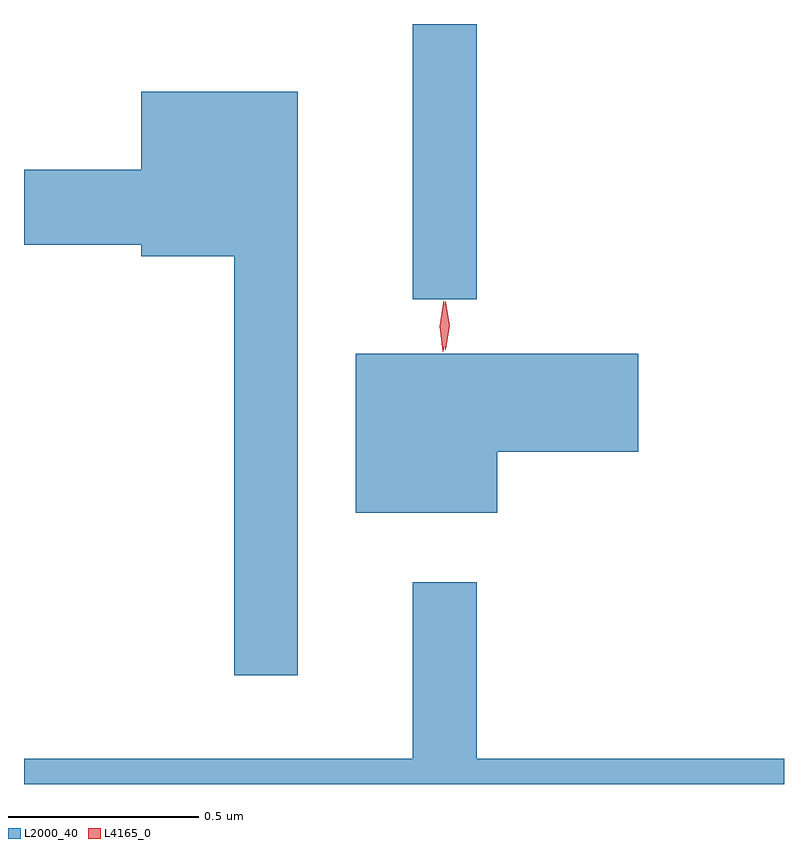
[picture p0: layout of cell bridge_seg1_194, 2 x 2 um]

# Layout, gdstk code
import gdstk
lib = gdstk.Library(unit=1e-6, precision=1e-09)
def R(c, l, rs):  # rectangles x0, y0, x1, y1
    for r in rs: c.add(gdstk.rectangle(r[:2], r[2:], *l))
def P(c, l, *ps):  # polygons
    for p in ps: c.add(gdstk.Polygon(p, *l))
L2000_40 = (2000, 40)
L4165_0 = (4165, 0)

bridge_seg1_194 = lib.new_cell('bridge_seg1_194')
R(bridge_seg1_194, L2000_40, [(688.871,936.573,689.039,937.297)])
P(bridge_seg1_194, L2000_40, [(688.569,937.119),(688.156,937.119),(688.156,936.914),(687.848,936.914),(687.848,936.716),(688.156,936.716),(688.156,936.686),(688.401,936.686),(688.401,935.583),(688.569,935.583)],
  [(689.094,936.171),(689.464,936.171),(689.464,936.429),(688.721,936.429),(688.721,936.011),(689.094,936.011)],
  [(689.848,935.364),(689.039,935.364),(689.039,935.828),(688.871,935.828),(688.871,935.364),(687.848,935.364),(687.848,935.297),(689.848,935.297)])
P(bridge_seg1_194, L4165_0, [(688.95,936.434),(688.942,936.502),(688.952,936.57),(688.952,936.57),(688.953,936.57),(688.962,936.502),(688.951,936.434),(688.951,936.434)],
  [(688.957,936.44),(688.948,936.503),(688.957,936.566),(688.958,936.567),(688.958,936.566),(688.968,936.503),(688.958,936.44),(688.958,936.44)])

lib.write_gds('bridge_seg1_194.gds')
